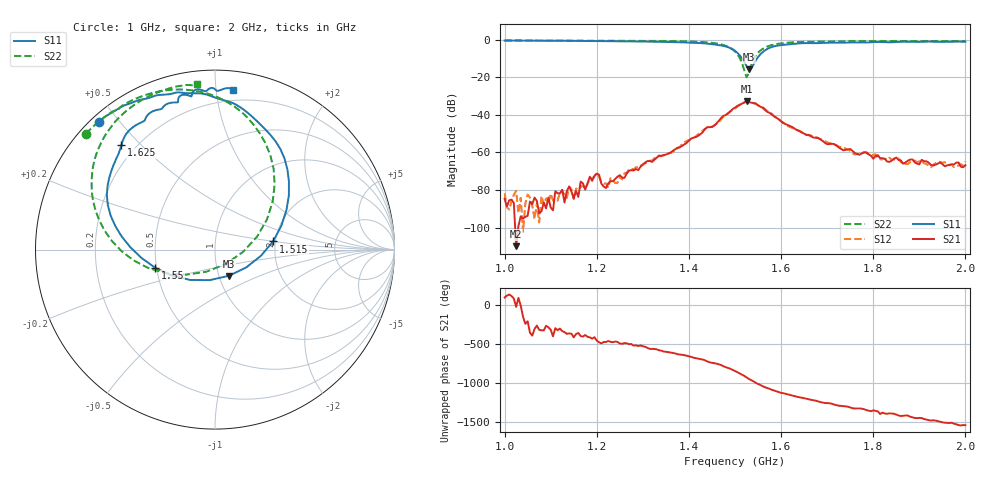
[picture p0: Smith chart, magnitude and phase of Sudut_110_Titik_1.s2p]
# Hz S RI R 50
! CMT, C1220, 16058040, 17.2.0/1
! Date: 14/08/2018 12:55:25
! Data: Format (Calibration Info)
! Freq  S11: Re/Im (F2)  S21: Re/Im (F2)  S12: Re/Im (F2)  S22: Re/Im (F2)
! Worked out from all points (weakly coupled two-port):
!   201 points, 1 GHz to 2 GHz, reference 50 ohm
!   highest |S21| = -32.80 dB at 1.525 GHz (marker M1); lowest = -109.9 dB at 1.025 GHz (marker M2)
!   lowest |S11| = -15.7 dB at 1.53 GHz (marker M3), VSWR 1.40, Z = 55.6 - j16.7 ohm
!   |S11| at or under -10 dB: 1.516 GHz to 1.548 GHz (32 MHz wide, 2.09 % of centre)
!   |S22| runs from -19.9 to -0.3 dB; largest |S21 - S12| = 0.00096
!   S11 on the Smith chart (normalised r, x): 1 GHz: 0.02, +0.44; 1.515 GHz: 1.94, +0.20; 1.55 GHz: 0.49, -0.11; 1.625 GHz: 0.15, +0.44; 2 GHz: 0.12, +1.11
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1e9  -0.6455 0.7136  -2.68e-06 5.83e-05  9.08e-06 8.11e-05  -0.7191 0.6455
1.025e9  -0.6207 0.7335  2.86e-06 -1.42e-06  4.79e-05 8.2e-05  -0.7018 0.6635
1.16e9  -0.4668 0.8166  6.53e-05 9.7e-08  0.0001 -8.16e-06  -0.5876 0.759
1.17e9  -0.4542 0.822  0.000105 -0.000107  0.00012 -5.16e-05  -0.5769 0.7655
1.175e9  -0.4469 0.825  9.12e-05 -4.5e-05  9.87e-05 -4.42e-05  -0.5712 0.7683
1.185e9  -0.4313 0.8311  0.000128 -0.000187  0.000165 -0.000115  -0.5598 0.774
1.2e9  -0.4088 0.8362  -3.6e-05 -0.000272  -4.65e-05 -0.000272  -0.5431 0.7774
1.22e9  -0.3797 0.8419  -4.69e-05 -0.000103  -1.73e-05 -0.000149  -0.5309 0.7908
1.335e9  -0.1743 0.8728  -0.000625 0.000545  -0.000568 0.000562  -0.3601 0.8697
1.45e9  0.2045 0.7431  0.00447 -0.00167  0.00447 -0.00198  0.0456 0.8339
1.5e9  0.4117 0.3035  -0.00909 -0.0128  -0.00858 -0.012  0.3324 0.363
1.515e9  0.3233 0.0451  -0.0197 -0.003  -0.0198 -0.00357  0.2343 0.0719
1.525e9  0.1735 -0.0996  -0.0206 0.0101  -0.0208 0.01  0.0622 -0.0794
1.53e9  0.0764 -0.1462  -0.0153 0.0158  -0.0155 0.0159  -0.0479 -0.1232
1.55e9  -0.3345 -0.1004  0.00638 0.0169  0.00573 0.0171  -0.453 -0.0604
1.58e9  -0.5972 0.2486  0.0102 -0.000855  0.0106 -0.00125  -0.6783 0.2662
1.625e9  -0.5216 0.581  0.000849 -0.00463  0.000917 -0.00438  -0.6492 0.5627
1.67e9  -0.4035 0.7114  -0.00186 -0.00167  -0.00198 -0.00177  -0.566 0.7007
1.76e9  -0.2419 0.8187  -0.000438 0.000866  -0.000469 0.000743  -0.4207 0.8253
1.835e9  -0.1323 0.8535  0.00033 0.000455  0.000435 0.000581  -0.3154 0.8779
1.925e9  -0.014 0.9006  0.000365 -0.000291  0.000344 -0.00021  -0.1926 0.9127
2e9  0.1008 0.8909  -4.98e-05 -0.000456  -6.05e-05 -0.000574  -0.0977 0.9222
